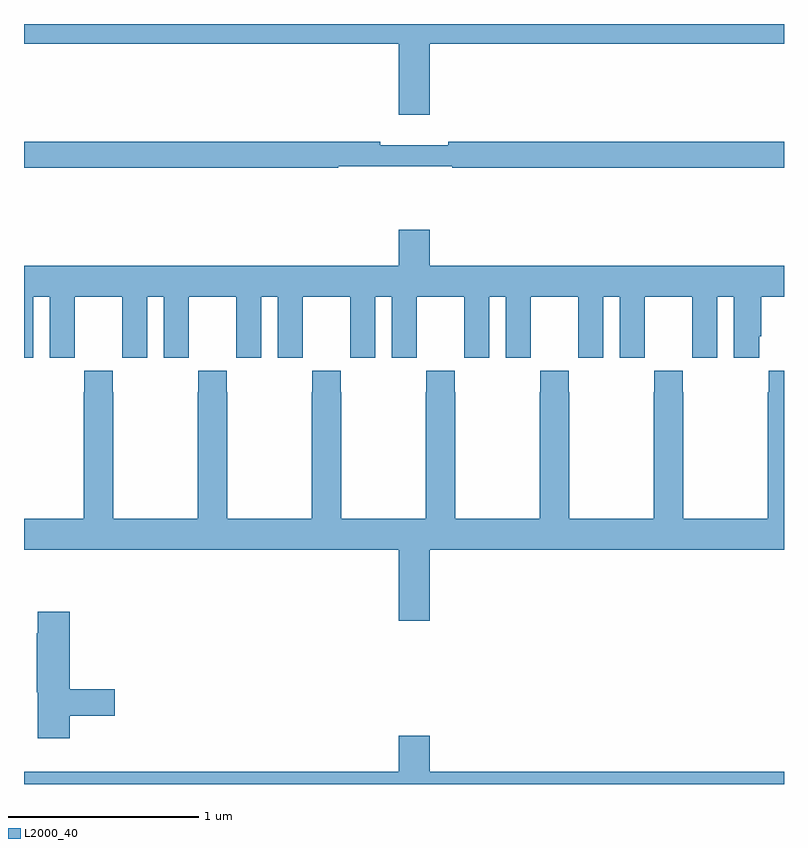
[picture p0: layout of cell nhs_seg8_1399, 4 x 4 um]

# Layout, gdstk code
import gdstk
lib = gdstk.Library(unit=1e-6, precision=1e-09)
def P(c, l, *ps):  # polygons
    for p in ps: c.add(gdstk.Polygon(p, *l))
L2000_40 = (2000, 40)

nhs_seg8_1399 = lib.new_cell('nhs_seg8_1399')
P(nhs_seg8_1399, L2000_40, [(201.136,1153.796),(203,1153.796),(203,1153.9),(199,1153.9),(199,1153.796),(200.972,1153.796),(200.972,1153.422),(201.136,1153.422)],
  [(200.655,1153.152),(201.255,1153.152),(201.255,1153.144),(203,1153.144),(203,1153.28),(201.232,1153.28),(201.232,1153.261),(200.876,1153.261),(200.876,1153.28),(199,1153.28),(199,1153.144),(200.655,1153.144)],
  [(201.136,1152.817),(200.972,1152.817),(200.972,1152.628),(199,1152.628),(199,1152.144),(199.048,1152.144),(199.048,1152.464),(199.136,1152.464),(199.136,1152.144),(199.266,1152.144),(199.266,1152.256),(199.267,1152.256),(199.267,1152.464),(199.517,1152.464),(199.517,1152.256),(199.518,1152.256),(199.518,1152.144),(199.648,1152.144),(199.648,1152.464),(199.736,1152.464),(199.736,1152.144),(199.866,1152.144),(199.866,1152.256),(199.867,1152.256),(199.867,1152.464),(200.117,1152.464),(200.117,1152.256),(200.118,1152.256),(200.118,1152.144),(200.248,1152.144),(200.248,1152.464),(200.336,1152.464),(200.336,1152.144),(200.466,1152.144),(200.466,1152.256),(200.467,1152.256),(200.467,1152.464),(200.717,1152.464),(200.717,1152.256),(200.718,1152.256),(200.718,1152.144),(200.848,1152.144),(200.848,1152.464),(200.936,1152.464),(200.936,1152.144),(201.066,1152.144),(201.066,1152.256),(201.067,1152.256),(201.067,1152.464),(201.317,1152.464),(201.317,1152.256),(201.318,1152.256),(201.318,1152.144),(201.448,1152.144),(201.448,1152.464),(201.536,1152.464),(201.536,1152.144),(201.666,1152.144),(201.666,1152.256),(201.667,1152.256),(201.667,1152.464),(201.917,1152.464),(201.917,1152.256),(201.918,1152.256),(201.918,1152.144),(202.048,1152.144),(202.048,1152.464),(202.136,1152.464),(202.136,1152.144),(202.266,1152.144),(202.266,1152.256),(202.267,1152.256),(202.267,1152.464),(202.517,1152.464),(202.517,1152.256),(202.518,1152.256),(202.518,1152.144),(202.648,1152.144),(202.648,1152.464),(202.736,1152.464),(202.736,1152.144),(202.87,1152.144),(202.87,1152.256),(202.88,1152.256),(202.88,1152.464),(203,1152.464),(203,1152.628),(201.136,1152.628)],
  [(203,1152.076),(202.921,1152.076),(202.921,1151.963),(202.915,1151.963),(202.915,1151.296),(202.47,1151.296),(202.47,1151.963),(202.467,1151.963),(202.467,1152.076),(202.317,1152.076),(202.317,1151.963),(202.315,1151.963),(202.315,1151.296),(201.87,1151.296),(201.87,1151.963),(201.867,1151.963),(201.867,1152.076),(201.717,1152.076),(201.717,1151.963),(201.715,1151.963),(201.715,1151.296),(201.27,1151.296),(201.27,1151.963),(201.267,1151.963),(201.267,1152.076),(201.117,1152.076),(201.117,1151.963),(201.115,1151.963),(201.115,1151.296),(200.67,1151.296),(200.67,1151.963),(200.667,1151.963),(200.667,1152.076),(200.517,1152.076),(200.517,1151.963),(200.515,1151.963),(200.515,1151.296),(200.07,1151.296),(200.07,1151.963),(200.067,1151.963),(200.067,1152.076),(199.917,1152.076),(199.917,1151.963),(199.915,1151.963),(199.915,1151.296),(199.47,1151.296),(199.47,1151.963),(199.467,1151.963),(199.467,1152.076),(199.317,1152.076),(199.317,1151.963),(199.315,1151.963),(199.315,1151.296),(199,1151.296),(199,1151.132),(200.972,1151.132),(200.972,1150.758),(201.136,1150.758),(201.136,1151.132),(203,1151.132)],
  [(199.241,1150.258),(199.477,1150.258),(199.477,1150.4),(199.241,1150.4),(199.241,1150.807),(199.073,1150.807),(199.073,1150.694),(199.066,1150.694),(199.066,1150.383),(199.073,1150.383),(199.073,1150.14),(199.241,1150.14)],
  [(203,1149.964),(201.136,1149.964),(201.136,1150.153),(200.972,1150.153),(200.972,1149.964),(199,1149.964),(199,1149.9),(203,1149.9)])

lib.write_gds('nhs_seg8_1399.gds')
